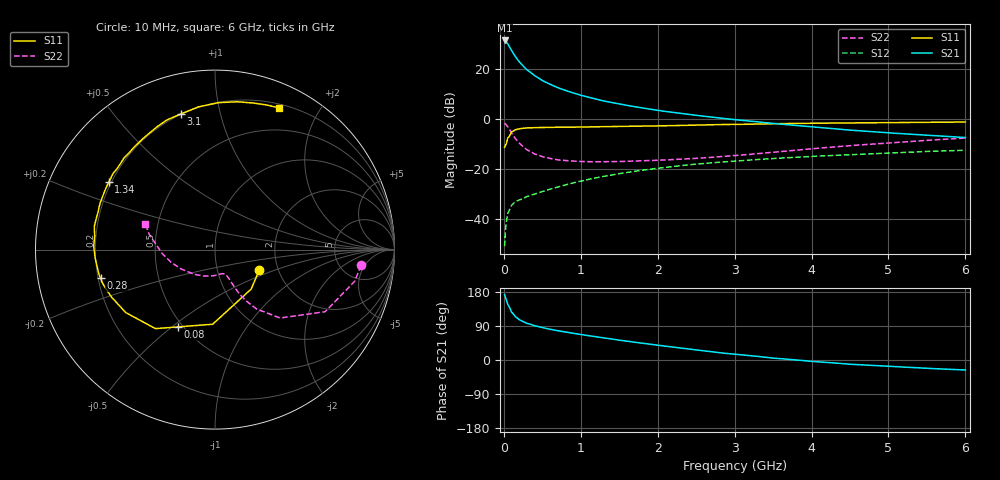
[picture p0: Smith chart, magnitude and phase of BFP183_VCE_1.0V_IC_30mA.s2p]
! Infineon Technologies  Discrete & RF Semiconductors
! BFP183
! VCE = 1.0 V,  IC =  30 mA
! Common Emitter S-Parameters:  Jan 2016
# GHz  S  MA  R  50
!  f  S11  S21  S12  S22
! GHz  MAG  ANG  MAG  ANG  MAG  ANG  MAG  ANG
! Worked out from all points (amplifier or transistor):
!   210 points, 10 MHz to 6 GHz, reference 50 ohm
!   highest |S21| = 31.3 dB at 10 MHz (marker M1)
!   |S21| within 3 dB of that: start of sweep to 80.76 MHz
!   unconditionally stable (mu >= 1): start of sweep to 15.32 MHz; 325.1 MHz to end of sweep
!   at 185 MHz: K = 0.72, MSG = 28.0 dB, |S12| = -32.5 dB
!   at 1.52 GHz: K = 1.54, MAG = 9.5 dB, |S12| = -21.7 dB
!   at 6 GHz: K = 1.25, MAG = -0.5 dB, |S12| = -12.5 dB
!   S11 on the Smith chart (normalised r, x): 10 MHz: 1.59, -0.40; 80 MHz: 0.47, -0.53; 280 MHz: 0.21, -0.12; 1.34 GHz: 0.19, +0.28; 3.1 GHz: 0.20, +0.76; 6 GHz: 0.24, +1.52
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0.01  0.2717 -25.1  36.6 172.8  0.0029 77.7  0.8186 -6.2
0.02  0.2983 -47.5  36.05 165.8  0.0058 77.4  0.7978 -12.8
0.05  0.416 -91.8  31.55 147.0  0.0128 64.1  0.7046 -29.4
0.08  0.4765 -115.4  26.03 136.2  0.0163 53.8  0.591 -38.4
0.1  0.5513 -127.0  23.06 126.4  0.0189 49.2  0.5262 -46.4
0.15  0.6086 -144.8  17.38 114.2  0.0226 43.5  0.4036 -55.0
0.2  0.6349 -155.5  13.75 106.4  0.0241 43.0  0.3281 -59.1
0.24  0.6487 -161.3  11.75 102.1  0.0255 43.3  0.2881 -60.8
0.28  0.6573 -165.9  10.21 98.6  0.0273 44.3  0.2565 -61.9
0.3  0.6613 -168.0  9.518 96.9  0.0283 44.8  0.2422 -62.4
0.4  0.6687 -175.6  7.267 90.3  0.0317 47.1  0.2004 -63.6
0.5  0.6762 178.5  5.817 85.4  0.0355 49.6  0.1769 -64.4
0.6  0.6746 173.5  4.892 81.0  0.0397 52.0  0.1623 -65.4
0.7  0.6848 169.2  4.178 77.2  0.0438 53.6  0.1526 -66.4
0.8  0.684 165.5  3.683 73.6  0.0482 54.2  0.1474 -67.8
1.02  0.6909 157.5  2.905 66.6  0.0581 55.2  0.1413 -72.0
1.34  0.7009 147.7  2.21 57.2  0.0733 54.9  0.14 -80.1
2.02  0.7265 128.6  1.46 38.5  0.1046 50.1  0.1505 -100.6
3.1  0.7791 104.1  0.933 13.4  0.1478 39.5  0.1906 -138.4
4.1  0.8208 87.1  0.675 -5.0  0.1815 29.4  0.2614 -166.5
5.1  0.8454 74.5  0.515 -17.6  0.2103 20.6  0.3385 173.2
6  0.8662 65.8  0.425 -26.4  0.2367 11.4  0.4144 159.8
